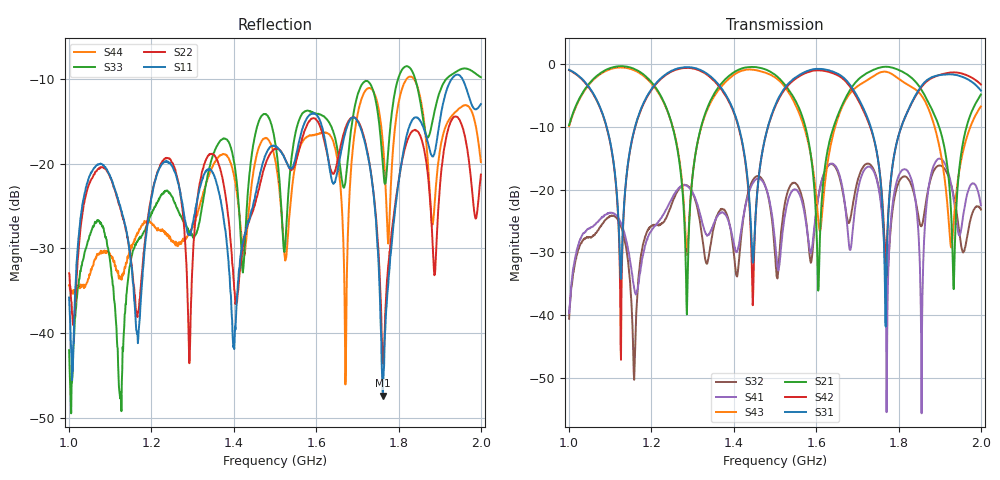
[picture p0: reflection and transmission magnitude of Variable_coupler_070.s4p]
#  HZ  S  DB  R  50.00
! Rohde & Schwarz Vector Network Analyzer
! Rohde-Schwarz,ZNB8-4Port,1311601044102961,2.82
! Created: UTC 1/17/2019, 3:14:32 PM
! freq[Hz]  db:S11  ang:S11  db:S12  ang:S12  db:S13  ang:S13  db:S14  ang:S14
!  db:S21  ang:S21  db:S22  ang:S22  db:S23  ang:S23  db:S24  ang:S24
!  db:S31  ang:S31  db:S32  ang:S32  db:S33  ang:S33  db:S34  ang:S34
!  db:S41  ang:S41  db:S42  ang:S42  db:S43  ang:S43  db:S44  ang:S44
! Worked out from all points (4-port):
!   1001 points, 1 GHz to 2 GHz, reference 50 ohm
!   strongest paths, dB at 1 GHz, 1.25 GHz, 1.5 GHz, 1.75 GHz, 2 GHz:
!     S31: -0.9, -1.0, -6.6, -15.1, -4.2
!     S42: -0.9, -1.1, -6.8, -15.1, -3.2
!     S21: -9.7, -9.7, -1.7, -0.6, -4.8
!     S43: -9.9, -9.6, -2.1, -1.5, -6.7
!     S41: -39.7, -21.4, -28.1, -19.2, -22.5
!     S32: -40.6, -22.2, -30.2, -19.0, -23.2
!   lowest |S11| = -47.4 dB at 1.762 GHz (marker M1), VSWR 1.01, Z = 49.8 + j0.389 ohm
!   |S11| at or under -10 dB: start of sweep to 1.929 GHz; 1.955 GHz to end of sweep
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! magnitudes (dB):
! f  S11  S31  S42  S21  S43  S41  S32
! 1 GHz  -35.8  -0.9  -0.9  -9.7  -9.9  -39.7  -40.6
! 1.125 GHz  -25.2  -33.9  -45.0  -0.3  -0.5  -25.2  -25.7
! 1.286 GHz  -27.8  -0.4  -0.6  -39.9  -30.4  -19.4  -19.3
! 1.446 GHz  -25.1  -31.6  -38.4  -0.4  -0.9  -19.0  -18.5
! 1.694 GHz  -14.6  -4.4  -4.8  -3.0  -3.8  -23.1  -20.5
! 1.762 GHz  -47.4  -23.8  -23.0  -0.4  -1.2  -25.7  -24.7
! 2 GHz  -13.0  -4.2  -3.2  -4.8  -6.7  -22.5  -23.2
